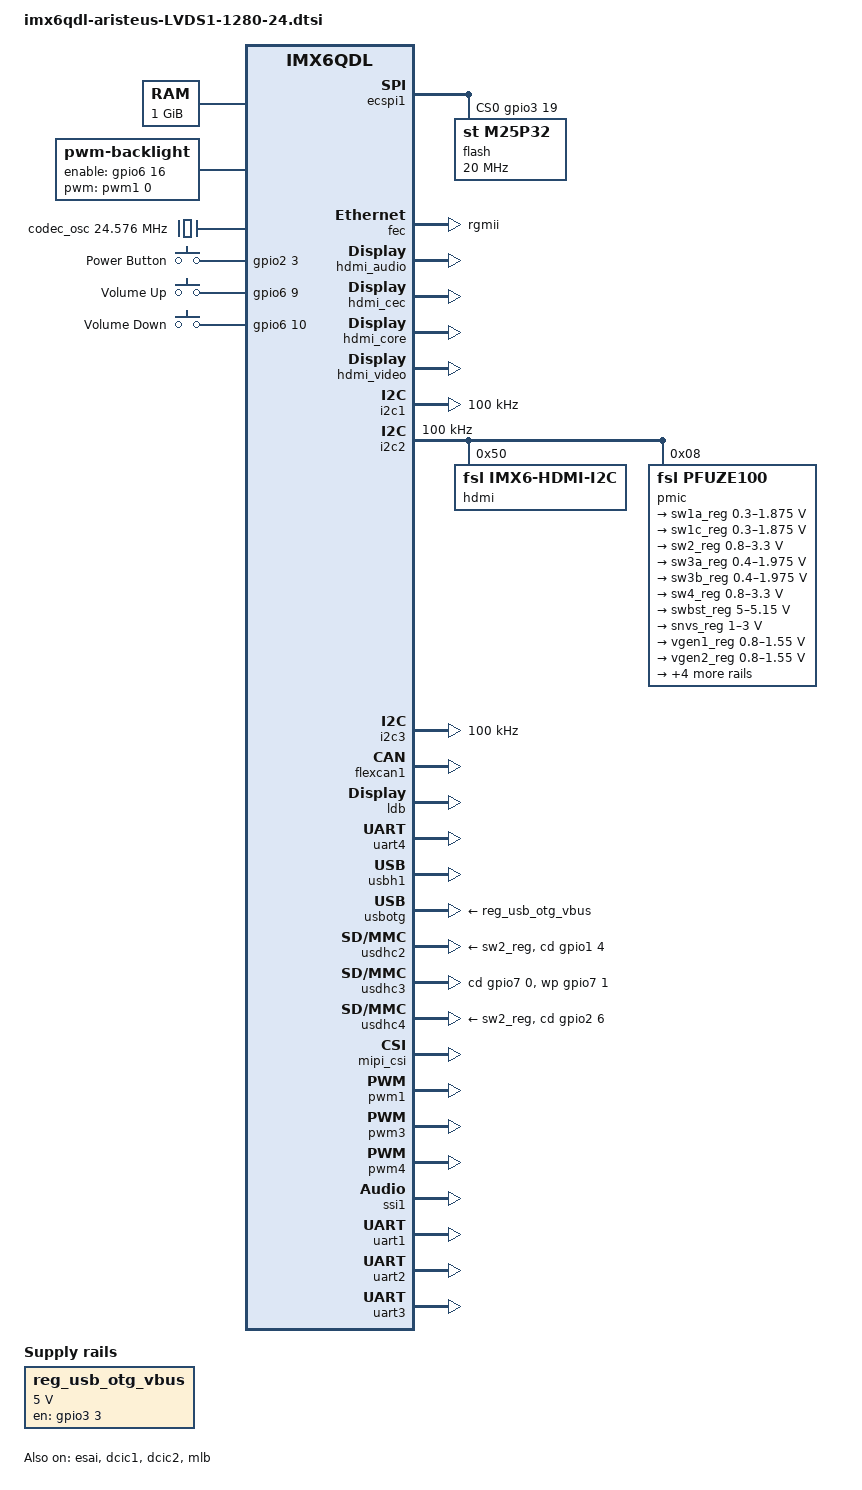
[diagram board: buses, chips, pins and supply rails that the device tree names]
/*
 * Copyright 2014 Synexxus Devices
 * Copyright 2012 Freescale Semiconductor, Inc.
 *
 * The code contained herein is licensed under the GNU General Public
 * License. You may obtain a copy of the GNU General Public License
 * Version 2 or later at the following locations:
 *
 * http://www.opensource.org/licenses/gpl-license.html
 * http://www.gnu.org/copyleft/gpl.html
 */

/ {
	aliases {
		mxcfb0 = &mxcfb1;
		mxcfb1 = &mxcfb2;
		mxcfb2 = &mxcfb3;
		mxcfb3 = &mxcfb4;
	};

	memory {
		reg = <0x10000000 0x40000000>;
	};

	backlight {
		compatible = "pwm-backlight";
		pwms = <&pwm1 0 5000000>;
		brightness-levels = <0 4 8 16 32 64 128 255>;
		default-brightness-level = <7>;

		// This is the LVDS_PANEL_EN (DISP_PWR_EN Net)
		// Was &gpio6 14 0 for the Highlander board
		enable-gpios = <&gpio6 16 0>;
	};

	clocks {
		codec_osc: anaclk2 {
			compatible = "fixed-clock";
			#clock-cells = <0>;
			clock-frequency = <24576000>;
		};
	};

	regulators {
		compatible = "simple-bus";

		reg_usb_otg_vbus: usb_otg_vbus {
			compatible = "regulator-fixed";
			regulator-name = "usb_otg_vbus";
			regulator-min-microvolt = <5000000>;
			regulator-max-microvolt = <5000000>;
			gpio = <&gpio3 3 0>;		// Change dto dummy search button
			enable-active-high;
		};

	};

	gpio-keys {
		compatible = "gpio-keys";
		power {
			label = "Power Button";
			gpios = <&gpio2 3 0>;
			linux,code = <116>; /* KEY_POWER */
			gpio-key,wakeup;
		};

		volume-up {
			label = "Volume Up";
			gpios = <&gpio6 9 0>;
			linux,code = <115>; /* KEY_VOLUMEUP */
		};

		volume-down {
			label = "Volume Down";
			gpios = <&gpio6 10 0>;
			linux,code = <114>; /* KEY_VOLUMEDOWN */
		};
	};

	mxcfb1: fb@0 {
		compatible = "fsl,mxc_sdc_fb";
		disp_dev = "ldb";
		interface_pix_fmt = "RGB666";
		default_bpp = <16>;
		int_clk = <0>;
		late_init = <0>;
		status = "disabled";
	};

	mxcfb2: fb@1 {
		compatible = "fsl,mxc_sdc_fb";
		disp_dev = "hdmi";
		interface_pix_fmt = "RGB24";
		mode_str ="1920x1080M@60";
		default_bpp = <24>;
		int_clk = <0>;
		late_init = <0>;
		status = "disabled";
	};

	mxcfb3: fb@2 {
		compatible = "fsl,mxc_sdc_fb";
		disp_dev = "lcd";
		interface_pix_fmt = "RGB565";
		mode_str ="CLAA-WVGA";
		default_bpp = <16>;
		int_clk = <0>;
		late_init = <0>;
		status = "disabled";
	};

	mxcfb4: fb@3 {
		compatible = "fsl,mxc_sdc_fb";
		disp_dev = "ldb";
		interface_pix_fmt = "RGB666";
		default_bpp = <16>;
		int_clk = <0>;
		late_init = <0>;
		status = "disabled";
	};

	sound-hdmi {
		compatible = "fsl,imx6q-audio-hdmi",
			     "fsl,imx-audio-hdmi";
		model = "imx-audio-hdmi";
		hdmi-controller = <&hdmi_audio>;
	};

	v4l2_cap_0 {
		compatible = "fsl,imx6q-v4l2-capture";
		ipu_id = <0>;
		csi_id = <0>;
		mclk_source = <0>;
		status = "okay";
	};

	v4l2_out {
		compatible = "fsl,mxc_v4l2_output";
		status = "okay";
	};
};


/*
	//Highlander uses AUDMUX4 out of the SD2 area
&audmux {
	pinctrl-names = "default";
	pinctrl-0 = <&pinctrl_audmux_4>;
	status = "okay";
};
*/

&ecspi1 {
	fsl,spi-num-chipselects = <1>;
	cs-gpios = <&gpio3 19 0>;
	pinctrl-names = "default";
	pinctrl-0 = <&pinctrl_ecspi1_1 &pinctrl_ecspi1_cs_1>;

	flash: m25p80@0 {
		#address-cells = <1>;
		#size-cells = <1>;
		compatible = "st,m25p32";
		spi-max-frequency = <20000000>;
		reg = <0>;
	};
};

&esai {
	pinctrl-names = "default";
	pinctrl-0 = <&pinctrl_esai_2>;
	status = "okay";
};

&fec {
	pinctrl-names = "default";
//	pinctrl-0 = <&pinctrl_enet_1>;
	pinctrl-0 = <&pinctrl_enet_4>;         /* original had _4 */
	phy-mode = "rgmii";
	status = "okay";
};

&gpc {
	fsl,cpu_pupscr_sw2iso = <0xf>;
	fsl,cpu_pupscr_sw = <0xf>;
	fsl,cpu_pdnscr_iso2sw = <0x1>;
	fsl,cpu_pdnscr_iso = <0x1>;
	fsl,ldo-bypass = <0>; /* use ldo-bypass, u-boot will check it and configure */
	fsl,wdog-reset = <2>; /* watchdog select of reset source */
	/*pu-supply = <&pu_dummy>;*/ /* ldo-bypass:use pu_dummy if VDDSOC share with VDDPU */
	pu-supply=<&reg_pu>;
};

&gpu {
	/*pu-supply = <&pu_dummy>;*/ /* ldo-bypass:use pu_dummy if VDDSOC share with VDDPU */
	pu-supply=<&reg_pu>;
};

/* Added from imx6qdl-sabresd.dtsi reference*/
&vpu {
	/*pu-supply = <&pu_dummy>;*/ /* ldo-bypass:use pu_dummy if VDDSOC share with VDDPU */
	pu-supply=<&reg_pu>;
};

&hdmi_audio {
    status = "okay";
};

&hdmi_cec {
    pinctrl-names = "default";
    // pinctrl-0 = <&pinctrl_hdmi_cec_2>; // Use KEY_ROW2 for CEC_IN
    pinctrl-0 = <&pinctrl_hdmi_cec_1>;	// Use EIM_A25 for CEC_IN
    status = "okay";
};

&hdmi_core {
    ipu_id = <0>;
    disp_id = <1>;
    status = "okay";
};

&hdmi_video {
    fsl,phy_reg_vlev = <0x0294>;
    fsl,phy_reg_cksymtx = <0x800d>;
    status = "okay";
};


&i2c1 {
    clock-frequency = <100000>;
    pinctrl-names = "default";
    pinctrl-0 = <&pinctrl_i2c1_1>;
    status = "okay";


};


&i2c2 {
	clock-frequency = <100000>;
	pinctrl-names = "default";
	pinctrl-0 = <&pinctrl_i2c2_2>;
	status = "okay";

	hdmi: edid@50 {
		compatible = "fsl,imx6-hdmi-i2c";
		reg = <0x50>;
	};

	pmic: pfuze100@08 {
		compatible = "fsl,pfuze100";
			reg = <0x08>;

			regulators {
				sw1a_reg: sw1ab {
				regulator-min-microvolt = <300000>;
				regulator-max-microvolt = <1875000>;
				regulator-boot-on;
				regulator-always-on;
				regulator-ramp-delay = <6250>;
			};

			sw1c_reg: sw1c {
				regulator-min-microvolt = <300000>;
				regulator-max-microvolt = <1875000>;
				regulator-boot-on;
				regulator-always-on;
				regulator-ramp-delay = <6250>;
			};

			sw2_reg: sw2 {
				regulator-min-microvolt = <800000>;
				regulator-max-microvolt = <3300000>;
				regulator-boot-on;
				regulator-always-on;
			};

			sw3a_reg: sw3a {
				regulator-min-microvolt = <400000>;
				regulator-max-microvolt = <1975000>;
				regulator-boot-on;
				regulator-always-on;
			};

			sw3b_reg: sw3b {
				regulator-min-microvolt = <400000>;
				regulator-max-microvolt = <1975000>;
				regulator-boot-on;
				regulator-always-on;
			};

			sw4_reg: sw4 {
				regulator-min-microvolt = <800000>;
				regulator-max-microvolt = <3300000>;
			};

			swbst_reg: swbst {
				regulator-min-microvolt = <5000000>;
				regulator-max-microvolt = <5150000>;
			};

			snvs_reg: vsnvs {
				regulator-min-microvolt = <1000000>;
				regulator-max-microvolt = <3000000>;
				regulator-boot-on;
				regulator-always-on;
			};

			vref_reg: vrefddr {
				regulator-boot-on;
				regulator-always-on;
			};

			vgen1_reg: vgen1 {
				regulator-min-microvolt = <800000>;
				regulator-max-microvolt = <1550000>;
			};

			vgen2_reg: vgen2 {
				regulator-min-microvolt = <800000>;
				regulator-max-microvolt = <1550000>;
			};

			vgen3_reg: vgen3 {
				regulator-min-microvolt = <1800000>;
				regulator-max-microvolt = <3300000>;
			};

			vgen4_reg: vgen4 {
				regulator-min-microvolt = <1800000>;
				regulator-max-microvolt = <3300000>;
				regulator-always-on;
			};

			vgen5_reg: vgen5 {
				regulator-min-microvolt = <1800000>;
				regulator-max-microvolt = <3300000>;
				regulator-always-on;
			};

			vgen6_reg: vgen6 {
				regulator-min-microvolt = <1800000>;
				regulator-max-microvolt = <3300000>;
				regulator-always-on;
			};
		};
	};

};

&i2c3 {
	clock-frequency = <100000>;
	pinctrl-names = "default";
	pinctrl-0 = <&pinctrl_i2c3_3>;
	status = "okay";

};

&iomuxc {
	pinctrl-names = "default";
	pinctrl-0 = <&pinctrl_hog_1>;

	imx6q-aristeus {
		pinctrl_hog_1: hoggrp-1 {
			fsl,pins = <
				MX6QDL_PAD_GPIO_19__GPIO4_IO05          0x1b0b0		/* CAN STBY */
				MX6QDL_PAD_EIM_D19__GPIO3_IO19      	0x80000000  /* spi-nor CS1 */
				MX6QDL_PAD_ENET_RXD0__GPIO1_IO27    	0x000b0     /* ethernet phy reset */
				MX6QDL_PAD_ENET_TX_EN__GPIO1_IO28   	0x1b0b0     /* ethernet phy interrupt */
				MX6QDL_PAD_SD3_DAT5__GPIO7_IO00     	0x80000000  /* USDHC3 CD */
				MX6QDL_PAD_GPIO_17__GPIO7_IO12      	0x0b0b0       /* USB Hub Reset */
				>;
		};

		pinctrl_pcie: pciegrp {
			fsl,pins = <
				MX6QDL_PAD_SD4_DAT7__GPIO2_IO15		0x000b0		/* pcie reset */
			>;
		};
	};
};


&pcie {
	pinctrl-names = "default";
	pinctrl-0 = <&pinctrl_pcie>;
	reset-gpio = <&gpio2 15 GPIO_ACTIVE_LOW>;
	status = "disabled";
};

&flexcan1 {
	    pinctrl-names = "default";
	    pinctrl-0 = <&pinctrl_flexcan1_1>;
	    /*trx-stby-gpio = <&gpio1 2 GPIO_ACTIVE_LOW>;*/
	    status = "okay";
	};

&flexcan2 {
	pinctrl-names = "default";
	pinctrl-0 = <&pinctrl_flexcan2_1>;
	//trx-en-gpio = <&max7310_c 6 GPIO_ACTIVE_HIGH>;
	//trx-stby-gpio = <&max7310_c 5 GPIO_ACTIVE_HIGH>;
	status = "disabled";
};

&ldb {
	compatible = "fsl,imx6q-ldb";
	status = "okay";

	lvds-channel@0 {
		fsl,data-mapping = "spwg";
		fsl,data-width = <18>;
		status = "okay";

		display-timings {
			native-mode = <&lvds0_timing1>;
			lvds0_timing0: hsd100pxn1 {
				clock-frequency = <65000000>;
				hactive = <1024>;
				vactive = <768>;
				hback-porch = <220>;
				hfront-porch = <40>;
				vback-porch = <21>;
				vfront-porch = <7>;
				hsync-len = <60>;
				vsync-len = <10>;
			};
			lvds0_timing1: WXGA-R {
				clock-frequency = <71000000>;
				hactive = <1280>;
				hfront-porch = <48>;
				hback-porch = <80>;
				hsync-len = <32>;
				vactive = <800>;
				vfront-porch = <3>;
				vback-porch = <14>;
				vsync-len = <6>;
			};
		};
	};

	lvds-channel@1 {
		fsl,data-mapping = "spwg";
		fsl,data-width = <24>;
		status = "okay";
		primary;

		display-timings {
			native-mode = <&lvds1_timing1>;
			lvds1_timing0: hsd100pxn1 {
				clock-frequency = <65000000>;
				hactive = <1024>;
				vactive = <768>;
				hback-porch = <220>;
				hfront-porch = <40>;
				vback-porch = <21>;
				vfront-porch = <7>;
				hsync-len = <60>;
				vsync-len = <10>;
			};
			lvds1_timing1: WXGA-R {
				clock-frequency = <71000000>;
				hactive = <1280>;
				hfront-porch = <48>;
				hback-porch = <80>;
				hsync-len = <32>;
				vactive = <800>;
				vfront-porch = <3>;
				vback-porch = <14>;
				vsync-len = <6>;
			};
		};
	};
};

&dcic1 {
	dcic_id = <0>;
	dcic_mux = "dcic-hdmi";
	status = "okay";
};

&dcic2 {
	dcic_id = <1>;
	dcic_mux = "dcic-lvds0";
	status = "okay";
};

&mlb {
	pinctrl-names = "default";
	pinctrl-0 = <&pinctrl_mlb_2>;
	status = "okay";
};

&gpmi {
	pinctrl-names = "default";
	pinctrl-0 = <&pinctrl_gpmi_nand_1>;
	status = "disabled"; /* pin conflict with uart3 */
};

&uart4 {
	pinctrl-names = "default";
	pinctrl-0 = <&pinctrl_uart4_1>;
	status = "okay";
};

&usbh1 {
//	vbus-supply = <&reg_usb_h1_vbus>;
	status = "okay";
};

&usbotg {
    vbus-supply = <&reg_usb_otg_vbus>;
    pinctrl-names = "default";
    pinctrl-0 = <&pinctrl_usbotg_2>;
    disable-over-current;
    status = "okay";
};

&usdhc2 { 
    pinctrl-names = "default";
    pinctrl-0 = <&pinctrl_usdhc2_2>;
    cd-gpios = <&gpio1 4 0>;
    vmmc-supply = <&sw2_reg>;
    status = "okay";
};

&usdhc3 {
	pinctrl-names = "default";
	pinctrl-0 = <&pinctrl_usdhc3_2>;
	cd-gpios = <&gpio7 0 0>;
	wp-gpios = <&gpio7 1 0>;
	no-1-8-v;
	keep-power-in-suspend;
	enable-sdio-wakeup;
	status = "okay";
};

&usdhc4 {
    pinctrl-names = "default";
    pinctrl-0 = <&pinctrl_usdhc4_2>;
    cd-gpios = <&gpio2 6 0>;
    vmmc-supply = <&sw2_reg>;
    status = "okay";
};

&mipi_csi {
	status = "okay";
	ipu_id = <0>;
	csi_id = <1>;
	v_channel = <0>;
	lanes = <2>;
};

&pwm1 {
    pinctrl-names = "default";
    pinctrl-0 = <&pinctrl_pwm1_1>;
    status = "okay";
};

&pwm3 {
    pinctrl-names = "default";
    pinctrl-0 = <&pinctrl_pwm3_2>;
    status = "okay";
};

&pwm4 {
    pinctrl-names = "default";
    pinctrl-0 = <&pinctrl_pwm4_2>;
    status = "okay";
};

&ssi1 {
    fsl,mode = "i2s-slave";
    status = "okay";
};

&uart1 {
    pinctrl-names = "default";
    pinctrl-0 = <&pinctrl_uart1_2>;
    status = "okay";
};

&uart2 {
    pinctrl-names = "default";
    pinctrl-0 = <&pinctrl_uart2_3>;
    status = "okay";
};

&uart3 {
    pinctrl-names = "default";
    pinctrl-0 = <&pinctrl_uart3_3>;
    fsl,uart-has-rtscts;
    status = "okay";
};

